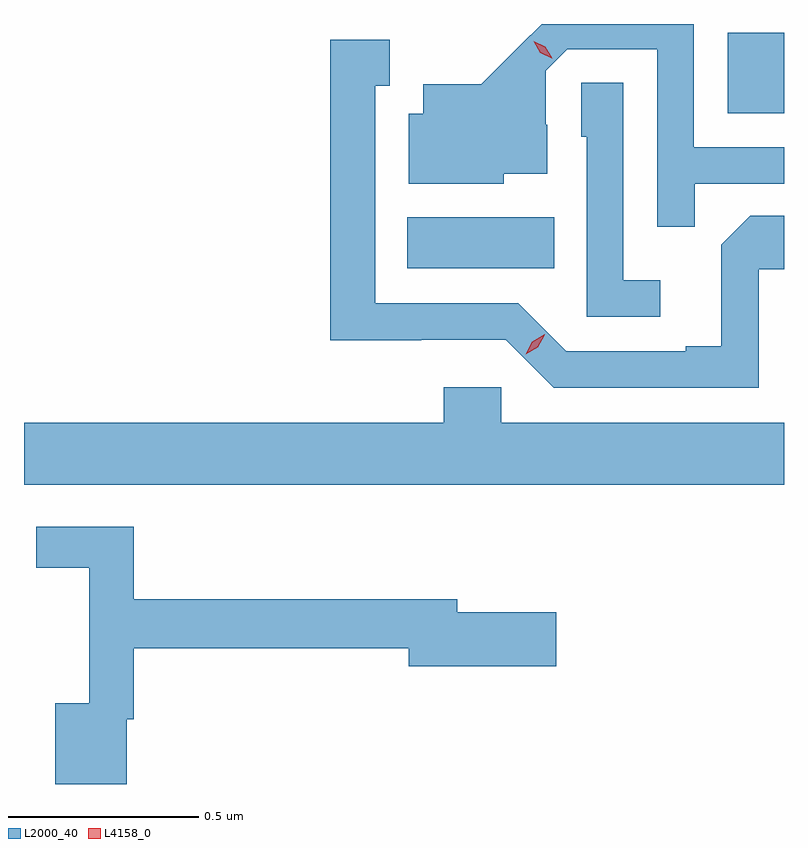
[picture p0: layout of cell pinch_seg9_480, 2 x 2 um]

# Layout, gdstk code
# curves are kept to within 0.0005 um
import gdstk
lib = gdstk.Library(unit=1e-6, precision=1e-09)
def R(c, l, rs):  # rectangles x0, y0, x1, y1
    for r in rs: c.add(gdstk.rectangle(r[:2], r[2:], *l))
def P(c, l, *ps):  # polygons
    for p in ps: c.add(gdstk.Polygon(p, *l))
L2000_40 = (2000, 40)
L4158_0 = (4158, 0)

pinch_seg9_480 = lib.new_cell('pinch_seg9_480')
R(pinch_seg9_480, L2000_40, [(256.583,1182.338,256.97,1182.472), (257.426,1182.746,257.574,1182.958)])
P(pinch_seg9_480, L2000_40, [(257.339,1182.561),(257.574,1182.561),(257.574,1182.657),(257.337,1182.657),(257.337,1182.981),(256.937,1182.981),(256.777,1182.823),(256.625,1182.823),(256.625,1182.745),(256.586,1182.745),(256.586,1182.56),(256.836,1182.56),(256.836,1182.587),(256.951,1182.587),(256.951,1182.716),(256.947,1182.716),(256.947,1182.858),(257.004,1182.915),(257.241,1182.915),(257.241,1182.448),(257.339,1182.448)],
  [(257.508,1182.336),(257.574,1182.336),(257.574,1182.476),(257.485,1182.476),(257.409,1182.4),(257.409,1182.133),(257.315,1182.133),(257.315,1182.12),(257.001,1182.12),(256.875,1182.246),(256.498,1182.246),(256.498,1182.819),(256.537,1182.819),(256.537,1182.94),(256.38,1182.94),(256.38,1182.149),(256.62,1182.149),(256.62,1182.15),(256.842,1182.15),(256.968,1182.024),(257.508,1182.024)],
  [(257.248,1182.307),(257.151,1182.307),(257.151,1182.827),(257.04,1182.827),(257.04,1182.684),(257.055,1182.684),(257.055,1182.21),(257.248,1182.21)],
  [(257.574,1181.932),(256.83,1181.932),(256.83,1182.025),(256.679,1182.025),(256.679,1181.932),(255.574,1181.932),(255.574,1181.768),(257.574,1181.768)],
  [(255.844,1181.151),(255.863,1181.151),(255.863,1181.338),(256.586,1181.338),(256.586,1181.291),(256.975,1181.291),(256.975,1181.433),(256.714,1181.433),(256.714,1181.467),(255.863,1181.467),(255.863,1181.658),(255.606,1181.658),(255.606,1181.55),(255.746,1181.55),(255.746,1181.194),(255.656,1181.194),(255.656,1180.981),(255.844,1180.981)])
P(pinch_seg9_480, L4158_0, [(256.963,1182.891),(256.933,1182.906),(256.915,1182.936),(256.915,1182.936),(256.916,1182.936),(256.946,1182.921),(256.964,1182.891),(256.964,1182.891)],
  [(256.894,1182.112),(256.894,1182.112),(256.912,1182.145),(256.944,1182.164),(256.944,1182.164),(256.944,1182.163),(256.926,1182.131),(256.895,1182.112)])

lib.write_gds('pinch_seg9_480.gds')
